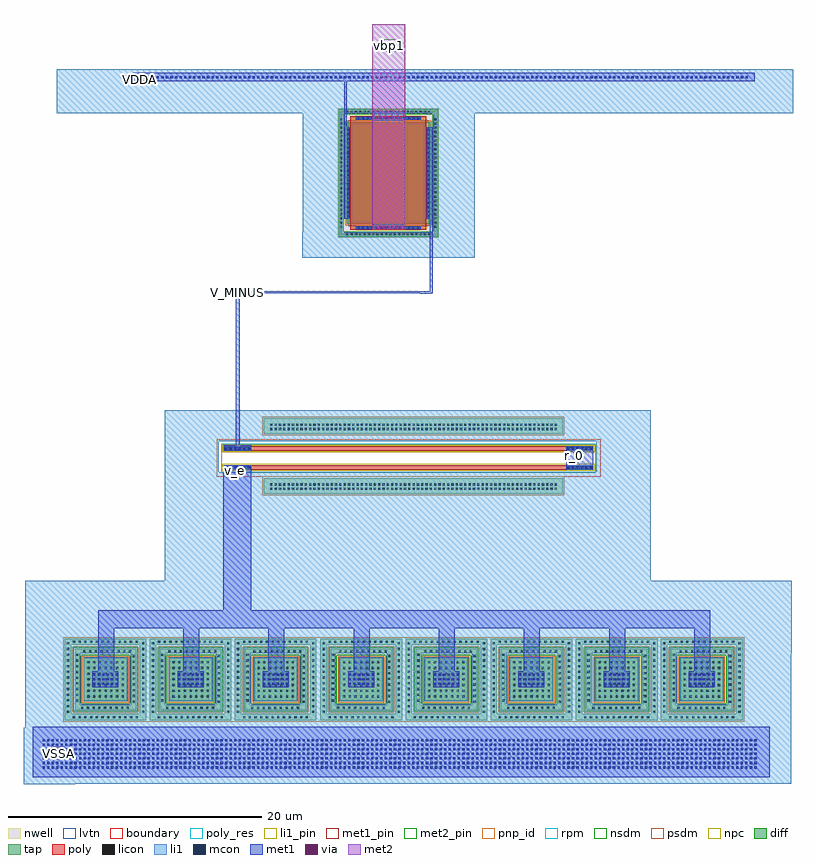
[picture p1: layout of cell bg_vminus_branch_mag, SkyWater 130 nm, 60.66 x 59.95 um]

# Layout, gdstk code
from math import pi, radians
import gdstk
lib = gdstk.Library(unit=1e-6, precision=1e-09)
def R(c, l, rs):  # rectangles x0, y0, x1, y1
    for r in rs: c.add(gdstk.rectangle(r[:2], r[2:], *l))
def A(c, l, x, y, w, h, nx, ny, dx, dy):  # array of equal rectangles
    R(c, l, [(x+i*dx, y+j*dy, x+i*dx+w, y+j*dy+h) for i in range(nx) for j in range(ny)])
nwell = (64, 20)
diff = (65, 20)
tap = (65, 44)
poly_res = (66, 13)
poly = (66, 20)
licon = (66, 44)
li1_pin = (67, 16)
li1 = (67, 20)
mcon = (67, 44)
met1_pin = (68, 16)
met1 = (68, 20)
via = (68, 44)
met2_pin = (69, 16)
met2 = (69, 20)
pnp_id = (82, 44)
rpm = (86, 20)
nsdm = (93, 44)
psdm = (94, 20)
npc = (95, 20)
lvtn = (125, 44)
boundary = (235, 4)

sky130_fd_pr__rf_pnp_05v = lib.new_cell('sky130_fd_pr__rf_pnp_05v5_W3p40L3p40')
R(sky130_fd_pr__rf_pnp_05v, nwell, [(0.765,0.765,5.935,5.935)])
R(sky130_fd_pr__rf_pnp_05v, diff, [(1.65,1.65,5.05,5.05)])
R(sky130_fd_pr__rf_pnp_05v, tap, [(0.13,0.13,6.57,0.635), (0.13,0.635,0.635,6.065), (6.065,0.635,6.57,6.065), (0.945,0.945,5.755,1.305), (0.945,1.305,1.305,5.395), (5.395,1.305,5.755,5.395), (0.945,5.395,5.755,5.755), (0.13,6.065,6.57,6.57)])
A(sky130_fd_pr__rf_pnp_05v, licon, 0.78, 0.29, 0.17, 0.17, 12, 2, 0.45, 5.935)
A(sky130_fd_pr__rf_pnp_05v, licon, 0.3, 0.71, 0.17, 0.17, 1, 13, 0, 0.45)
A(sky130_fd_pr__rf_pnp_05v, licon, 6.235, 0.71, 0.17, 0.17, 1, 13, 0, 0.45)
A(sky130_fd_pr__rf_pnp_05v, licon, 1.43, 1.04, 0.17, 0.17, 9, 1, 0.45, 0)
A(sky130_fd_pr__rf_pnp_05v, licon, 5.49, 1.51, 0.17, 0.17, 1, 9, 0, 0.45)
A(sky130_fd_pr__rf_pnp_05v, licon, 1.04, 1.605, 0.17, 0.17, 1, 9, 0, 0.45)
A(sky130_fd_pr__rf_pnp_05v, licon, 1.92, 1.92, 0.17, 0.17, 7, 7, 0.45, 0.45)
A(sky130_fd_pr__rf_pnp_05v, licon, 1.6, 5.49, 0.17, 0.17, 9, 1, 0.45, 0)
R(sky130_fd_pr__rf_pnp_05v, li1_pin, [(2.77,3.13,4.01,3.65), (2.95,5.51,3.54,5.71), (3.065,6.26,3.57,6.505)])
R(sky130_fd_pr__rf_pnp_05v, li1, [(0.13,0.13,6.57,0.625), (0.13,0.625,0.625,6.075), (6.075,0.625,6.57,6.075), (0.945,0.945,5.755,1.305), (0.945,1.305,1.305,5.395), (5.395,1.305,5.755,5.395), (1.615,1.615,5.085,5.085), (0.945,5.395,5.755,5.755), (0.13,6.075,6.57,6.57)])
A(sky130_fd_pr__rf_pnp_05v, mcon, 2.365, 2.91, 0.17, 0.17, 6, 3, 0.36, 0.36)
R(sky130_fd_pr__rf_pnp_05v, met1, [(2.32,2.75,4.37,3.98)])
R(sky130_fd_pr__rf_pnp_05v, pnp_id, [(0.13,0.13,6.57,6.57)])
R(sky130_fd_pr__rf_pnp_05v, nsdm, [(0.82,0.82,5.88,1.43), (0.82,1.43,1.43,5.27), (5.27,1.43,5.88,5.27), (0.82,5.27,5.88,5.88)])
R(sky130_fd_pr__rf_pnp_05v, psdm, [(0.005,0.005,6.695,0.76), (0.005,0.76,0.76,5.94), (5.94,0.76,6.695,5.94), (1.525,1.525,5.175,5.175), (0.005,5.94,6.695,6.695)])
sky130_fd_pr__rf_pnp_05v.add(gdstk.Label('Emitter', (3.39,3.39), layer=67, texttype=5))
sky130_fd_pr__rf_pnp_05v.add(gdstk.Label('Collector', (3.317,6.382), layer=67, texttype=5))
sky130_fd_pr__rf_pnp_05v.add(gdstk.Label('Base', (3.245,5.61), layer=67, texttype=5))

sky130_fd_pr__res_high_p = lib.new_cell('sky130_fd_pr__res_high_po_0p35_2EL4HT')
R(sky130_fd_pr__res_high_p, poly_res, [(-0.175,-12.5,0.175,12.5)])
R(sky130_fd_pr__res_high_p, poly, [(-0.175,-14.58,0.175,14.58)])
R(sky130_fd_pr__res_high_p, licon, [(-0.095,-14.5,0.095,-12.5), (-0.095,12.5,0.095,14.5)])
R(sky130_fd_pr__res_high_p, li1, [(-0.175,-14.58,0.175,-12.42), (-0.175,12.42,0.175,14.58)])
A(sky130_fd_pr__res_high_p, mcon, -0.085, -14.485, 0.17, 0.17, 1, 6, 0, 0.36)
A(sky130_fd_pr__res_high_p, mcon, -0.085, 12.51, 0.17, 0.17, 1, 6, 0, 0.36)
R(sky130_fd_pr__res_high_p, met1, [(-0.125,-14.55,0.125,-12.445), (-0.125,12.445,0.125,14.55)])
R(sky130_fd_pr__res_high_p, rpm, [(-0.375,-14.78,0.375,14.78)])
R(sky130_fd_pr__res_high_p, psdm, [(-0.285,-14.69,0.285,14.69)])
R(sky130_fd_pr__res_high_p, npc, [(-0.27,-14.675,0.27,14.675)])
R(sky130_fd_pr__res_high_p, boundary, [(-0.74,-15.145,0.74,15.145)])
sky130_fd_pr__res_high_p.add(gdstk.Label('R1', (0,14.405), layer=67, texttype=5))
sky130_fd_pr__res_high_p.add(gdstk.Label('R2', (0,-14.405), layer=67, texttype=5))

sky130_fd_pr__pfet_01v8_ = lib.new_cell('sky130_fd_pr__pfet_01v8_lvt_KLHPYA')
R(sky130_fd_pr__pfet_01v8_, nwell, [(-3.98,-5.095,3.98,5.095)])
R(sky130_fd_pr__pfet_01v8_, diff, [(-3.29,-4,3.29,4)])
R(sky130_fd_pr__pfet_01v8_, tap, [(-3.8,-4.915,3.8,-4.745), (-3.8,-4.745,-3.63,4.745), (3.63,-4.745,3.8,4.745), (-3.8,4.745,3.8,4.915)])
R(sky130_fd_pr__pfet_01v8_, poly, [(-3,-4.485,3,4.485)])
A(sky130_fd_pr__pfet_01v8_, licon, -3.315, -4.915, 0.17, 0.17, 20, 2, 0.34, 9.66)
A(sky130_fd_pr__pfet_01v8_, licon, -2.465, -4.405, 0.17, 0.17, 15, 2, 0.34, 8.64)
A(sky130_fd_pr__pfet_01v8_, licon, -3.8, -4.335, 0.17, 0.17, 1, 26, 0, 0.34)
A(sky130_fd_pr__pfet_01v8_, licon, 3.63, -4.335, 0.17, 0.17, 1, 26, 0, 0.34)
A(sky130_fd_pr__pfet_01v8_, licon, -3.23, -3.485, 0.17, 0.17, 1, 21, 0, 0.34)
A(sky130_fd_pr__pfet_01v8_, licon, 3.06, -3.485, 0.17, 0.17, 1, 21, 0, 0.34)
R(sky130_fd_pr__pfet_01v8_, li1, [(-3.8,-4.915,3.8,-4.745), (-3.8,-4.745,-3.63,4.745), (3.63,-4.745,3.8,4.745), (-2.555,-4.405,2.545,-4.235), (3.06,-3.605,3.23,3.61), (-3.23,-3.595,-3.06,3.625), (-2.555,4.235,2.55,4.405), (-2.555,4.405,-2.245,4.41), (-3.8,4.745,3.8,4.915)])
A(sky130_fd_pr__pfet_01v8_, mcon, -2.425, -4.405, 0.17, 0.17, 14, 2, 0.36, 8.64)
A(sky130_fd_pr__pfet_01v8_, mcon, -3.23, -3.505, 0.17, 0.17, 1, 20, 0, 0.36)
A(sky130_fd_pr__pfet_01v8_, mcon, 3.06, -3.505, 0.17, 0.17, 1, 20, 0, 0.36)
R(sky130_fd_pr__pfet_01v8_, met1, [(-2.555,-4.435,2.545,-4.205), (3.03,-3.605,3.26,3.61), (-3.26,-3.595,-3.03,3.625), (-2.555,4.205,2.55,4.435)])
R(sky130_fd_pr__pfet_01v8_, nsdm, [(-3.925,-5.04,3.925,-4.62), (-3.925,-4.62,-3.505,4.62), (3.505,-4.62,3.925,4.62), (-3.925,4.62,3.925,5.04)])
R(sky130_fd_pr__pfet_01v8_, psdm, [(-3.415,-4.125,3.415,4.125)])
R(sky130_fd_pr__pfet_01v8_, npc, [(-2.565,-4.505,2.565,-4.135), (-2.565,4.135,2.565,4.505)])
R(sky130_fd_pr__pfet_01v8_, lvtn, [(-3.18,-4.18,3.18,4.18)])
R(sky130_fd_pr__pfet_01v8_, boundary, [(-3.715,-4.83,3.715,4.83)])
sky130_fd_pr__pfet_01v8_.add(gdstk.Label('B', (0,-4.83), layer=67, texttype=5))
sky130_fd_pr__pfet_01v8_.add(gdstk.Label('D', (-3.145,0), layer=67, texttype=5))
sky130_fd_pr__pfet_01v8_.add(gdstk.Label('S', (3.145,0), layer=67, texttype=5))
sky130_fd_pr__pfet_01v8_.add(gdstk.Label('G', (0,4.32), layer=67, texttype=5))

bg_vminus_branch_mag = lib.new_cell('bg_vminus_branch_mag')
R(bg_vminus_branch_mag, tap, [(26.97,16.76,50.57,17.99), (26.97,21.48,50.57,22.71)])
A(bg_vminus_branch_mag, licon, 27.5, 17.055, 0.17, 0.17, 67, 2, 0.34, 0.34)
A(bg_vminus_branch_mag, licon, 27.5, 21.775, 0.17, 0.17, 67, 2, 0.34, 0.34)
A(bg_vminus_branch_mag, li1, 16.485, 0.16, 2.765, 4.02, 3, 1, 6.705, 0)
R(bg_vminus_branch_mag, li1, [(8.07,-6.145,12.06,-6.14), (8.07,-6.14,68.58,-1.715), (8.155,-1.715,68.58,0.16), (8.155,0.16,12.505,4.18), (36.675,0.16,39.44,4.18), (43.38,0.16,46.145,4.18), (50.12,0.16,52.885,4.18), (56.79,0.16,59.555,4.18), (63.64,0.16,68.58,4.18), (8.155,4.18,68.615,9.89), (19.155,9.89,57.5,18.46), (19.155,18.46,23.44,20.895), (53.215,18.46,57.5,20.895), (19.155,20.895,57.5,23.335), (30.025,35.38,43.62,37.36), (30.06,37.36,33.31,46.755), (40.36,37.36,43.61,46.755), (10.66,46.755,68.73,50.23)])
A(bg_vminus_branch_mag, mcon, 9.53, -4.93, 0.17, 0.17, 157, 7, 0.36, 0.36)
A(bg_vminus_branch_mag, mcon, 17.825, 49.53, 0.17, 0.17, 132, 1, 0.36, 0)
R(bg_vminus_branch_mag, met1_pin, [(10.32,-4.215,11.32,-3.215)])
R(bg_vminus_branch_mag, met1, [(8.775,-5.61,66.915,-1.615), (13.92,1.88,15.17,6.125), (20.63,1.88,21.88,6.125), (40.805,1.88,42.055,6.125), (47.51,1.88,48.76,6.125), (27.33,1.885,28.58,6.125), (34.085,1.885,35.335,6.125), (54.24,1.885,55.49,6.125), (60.95,1.885,62.2,6.125), (13.915,6.125,62.21,7.58), (23.805,7.58,26.005,18.355), (23.825,18.355,25.985,19.01), (50.825,18.65,52.985,20.495), (23.815,20.14,25.995,20.57), (24.785,20.57,25.995,20.575), (24.785,20.575,25.085,32.55), (39.375,32.545,40.23,32.55), (24.785,32.55,40.3,32.73), (40.07,32.73,40.3,45.66), (35.575,37.62,37.99,38.005), (33.32,38.455,33.55,45.555), (33.315,45.555,33.55,45.675), (33.315,45.675,33.545,49.27), (35.57,46.17,38.015,46.885), (16.71,49.27,65.72,49.965)])
A(bg_vminus_branch_mag, via, 35.785, 37.735, 0.15, 0.15, 7, 2, 0.32, 8.59)
R(bg_vminus_branch_mag, met2_pin, [(36.425,51.61,37.425,52.61)])
R(bg_vminus_branch_mag, met2, [(35.525,37.605,38.145,53.805)])
R(bg_vminus_branch_mag, rpm, [(23.625,19.21,53.185,19.94)])
R(bg_vminus_branch_mag, psdm, [(17.845,-1.24,17.865,5.45), (24.555,-1.24,24.575,5.45), (31.265,-1.24,31.325,5.45), (38.015,-1.24,38.04,5.45), (44.73,-1.24,44.75,5.45), (51.44,-1.24,51.48,5.45), (58.17,-1.24,58.19,5.45), (26.845,16.635,50.695,18.115), (26.845,21.355,50.695,22.835)])
bg_vminus_branch_mag.add(gdstk.Reference(sky130_fd_pr__rf_pnp_05v, (11.15,-1.245)))
bg_vminus_branch_mag.add(gdstk.Reference(sky130_fd_pr__rf_pnp_05v, (17.86,-1.245)))
bg_vminus_branch_mag.add(gdstk.Reference(sky130_fd_pr__rf_pnp_05v, (24.57,-1.245)))
bg_vminus_branch_mag.add(gdstk.Reference(sky130_fd_pr__rf_pnp_05v, (31.32,-1.245)))
bg_vminus_branch_mag.add(gdstk.Reference(sky130_fd_pr__rf_pnp_05v, (38.035,-1.245)))
bg_vminus_branch_mag.add(gdstk.Reference(sky130_fd_pr__rf_pnp_05v, (44.745,-1.245)))
bg_vminus_branch_mag.add(gdstk.Reference(sky130_fd_pr__rf_pnp_05v, (51.475,-1.245)))
bg_vminus_branch_mag.add(gdstk.Reference(sky130_fd_pr__rf_pnp_05v, (58.185,-1.245)))
bg_vminus_branch_mag.add(gdstk.Reference(sky130_fd_pr__res_high_p, (38.405,18.835), rotation=3*pi/2))
bg_vminus_branch_mag.add(gdstk.Reference(sky130_fd_pr__res_high_p, (38.405,20.315), rotation=3*pi/2))
bg_vminus_branch_mag.add(gdstk.Reference(sky130_fd_pr__pfet_01v8_, (36.81,42.05)))
bg_vminus_branch_mag.add(gdstk.Label('r_0', (51.48,19.8), layer=68, texttype=5))
bg_vminus_branch_mag.add(gdstk.Label('v_e', (24.65,18.57), layer=68, texttype=5))
bg_vminus_branch_mag.add(gdstk.Label('VSSA', (10.82,-3.715), layer=68, texttype=5))
bg_vminus_branch_mag.add(gdstk.Label('V_MINUS', (24.945,32.635), layer=68, texttype=5))
bg_vminus_branch_mag.add(gdstk.Label('VDDA', (17.17,49.41), layer=68, texttype=5))
bg_vminus_branch_mag.add(gdstk.Label('vbp1', (36.925,52.11), layer=69, texttype=5))

lib.write_gds('bg_vminus_branch_mag.gds')
